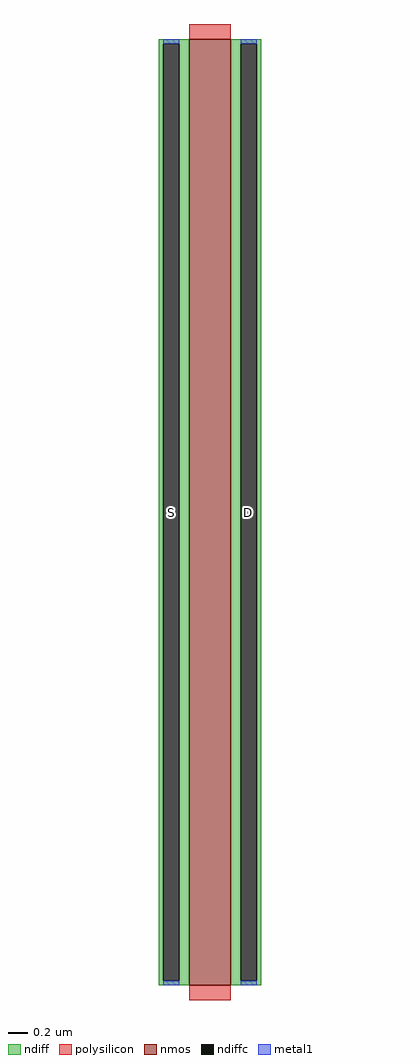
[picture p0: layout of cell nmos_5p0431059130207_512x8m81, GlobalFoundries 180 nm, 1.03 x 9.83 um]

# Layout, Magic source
magic
tech gf180mcuD
magscale 1 10
<< nmos >>
rect 0 0 84 1905
<< ndiff >>
rect -61 1896 0 1905
rect -61 9 -52 1896
rect -20 9 0 1896
rect -61 0 0 9
rect 84 1896 145 1905
rect 84 9 104 1896
rect 136 9 145 1896
rect 84 0 145 9
<< ndiffc >>
rect -52 9 -20 1896
rect 104 9 136 1896
<< polysilicon >>
rect 0 1905 84 1936
rect 0 -30 84 0
<< metal1 >>
rect -52 1896 -20 1905
rect -52 0 -20 9
rect 104 1896 136 1905
rect 104 0 136 9
<< labels >>
flabel ndiffc -36 952 -36 952 0 FreeSans 140 0 0 0 S
flabel ndiffc 120 952 120 952 0 FreeSans 140 0 0 0 D
<< end >>
